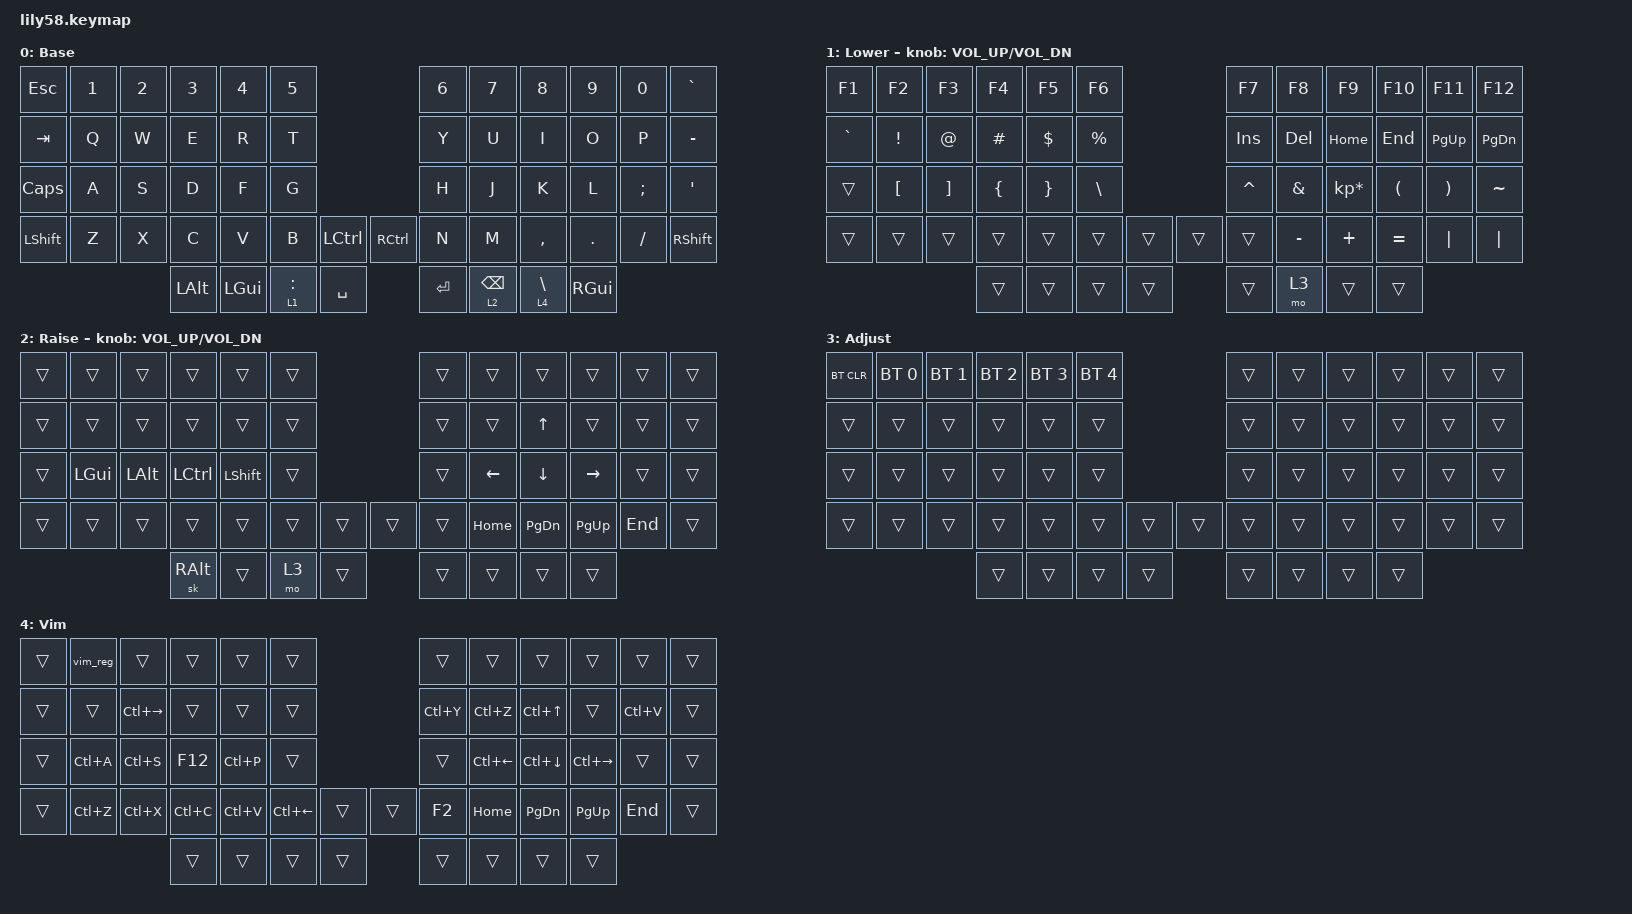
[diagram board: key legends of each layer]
/*
 * Copyright (c) 2020 The ZMK Contributors
 *
 * SPDX-License-Identifier: MIT
 */

#include <behaviors.dtsi>
#include <dt-bindings/zmk/bt.h>
#include <dt-bindings/zmk/keys.h>

/ {
    macros {
        // Macro for vim register access: " followed by +
        vim_reg: vim_reg {
            compatible = "zmk,behavior-macro";
            #binding-cells = <0>;
            bindings = <&kp DQT &kp PLUS>;
        };
    };

    behaviors {
        // Tap for COLON, hold for LOWER layer
        colon_lower: colon_lower {
            compatible = "zmk,behavior-hold-tap";
            #binding-cells = <2>;
            flavor = "balanced";
            tapping-term-ms = <200>;
            quick-tap-ms = <150>;
            bindings = <&mo>, <&kp>;
        };
        
        // Tap for BSPC, hold for RAISE layer
        bspc_raise: bspc_raise {
            compatible = "zmk,behavior-hold-tap";
            #binding-cells = <2>;
            flavor = "balanced";
            tapping-term-ms = <200>;
            quick-tap-ms = <150>;
            bindings = <&mo>, <&kp>;
        };

        // Tap for BSLH, hold for VIM layer
        bslh_vim: bslh_vim {
            compatible = "zmk,behavior-hold-tap";
            #binding-cells = <2>;
            flavor = "balanced";
            tapping-term-ms = <200>;
            quick-tap-ms = <150>;
            bindings = <&mo>, <&kp>;
        };
    };

    keymap {
        compatible = "zmk,keymap";

        default_layer {
            // ------------------------------------------------------------------------------------------------------------
            // |  ESC  |  1  |  2  |  3   |  4   |  5   |                   |  6   |  7    |  8    |  9   |   0   |   `   |
            // |  TAB  |  Q  |  W  |  E   |  R   |  T   |                   |  Y   |  U    |  I    |  O   |   P   |   -   |
            // | CAPS  |  A  |  S  |  D   |  F   |  G   |                   |  H   |  J    |  K    |  L   |   ;   |   '   |
            // | SHIFT |  Z  |  X  |  C   |  V   |  B   |   "["  |  |  "]"  |  N   |  M    |  ,    |  .   |   /   | SHIFT |
            //                     | ALT  | GUI  | :/LWR | SPACE |  | ENTER |BSPC/RSE| CTRL | RGUI  |

            display-name = "Base";
            bindings = <
&kp ESC    &kp N1  &kp N2  &kp N3    &kp N4    &kp N5                                       &kp N6  &kp N7             &kp N8     &kp N9     &kp N0    &kp GRAVE
&kp TAB    &kp Q   &kp W   &kp E     &kp R     &kp T                                        &kp Y   &kp U              &kp I      &kp O      &kp P     &kp MINUS
&kp CLCK   &kp A   &kp S   &kp D     &kp F     &kp G                                        &kp H   &kp J              &kp K      &kp L      &kp SEMI  &kp SQT
&kp LSHFT  &kp Z   &kp X   &kp C     &kp V     &kp B   &kp LCTRL      &kp RCTRL             &kp N   &kp M              &kp COMMA  &kp DOT    &kp FSLH  &kp RSHFT
                           &kp LALT  &kp LGUI  &colon_lower 1 COLON  &kp SPACE    &kp RET  &bspc_raise 2 BSPC  &bslh_vim 4 BSLH  &kp RGUI
            >;
        };

        lower_layer {
            // ------------------------------------------------------------------------------------------------------------
            // |  F1   |  F2 |  F3 |  F4  |  F5  |  F6  |                   |  F7  |  F8   |  F9   | F10  |  F11  |  F12  |
            // |   `   |  !  |  @  |  #   |  $   |  %   |                   | INS  | DEL   | HOME  | END  | PGUP  | PGDN  |
            // |       |  [  |  ]  |  {   |  }   |  \   |                   |  ^   |  &    |  *    |  (   |   )   |   ~   |
            // |       |     |     |      |      |      |        |  |       |      |  _    |  +    |  =   |   |   |  "|"  |
            //                     |      |      | HOLD |        |  |       | ADJ  |       |       |

            display-name = "Lower";
            bindings = <
&kp F1      &kp F2        &kp F3        &kp F4        &kp F5        &kp F6                          &kp F7     &kp F8     &kp F9           &kp F10    &kp F11   &kp F12
&kp GRAVE   &kp EXCL      &kp AT        &kp HASH      &kp DOLLAR    &kp PRCNT                       &kp INS    &kp DEL    &kp HOME         &kp END    &kp PG_UP &kp PG_DN
&trans      &kp LBKT      &kp RBKT      &kp LBRC      &kp RBRC      &kp BSLH                        &kp CARET  &kp AMPS   &kp KP_MULTIPLY  &kp LPAR   &kp RPAR  &kp TILDE
&trans      &trans        &trans        &trans        &trans        &trans        &trans    &trans  &trans     &kp MINUS  &kp PLUS         &kp EQUAL  &kp PIPE  &kp PIPE
                                        &trans        &trans        &trans        &trans    &trans  &mo 3      &trans     &trans
            >;

            sensor-bindings = <&inc_dec_kp C_VOL_UP C_VOL_DN>;
        };

        raise_layer {
            // ------------------------------------------------------------------------------------------------------------
            // |       | "+  |     |      |      |      |                   |      |       |       |      |       |       |
            // |       |     |     |      |      |      |                   |      |       |  UP   |      |       |       |
            // |       | GUI | ALT | CTRL | SHFT |      |                   |      | LEFT  | DOWN  | RIGHT|       |       |
            // |       |     |     |      |      |      |        |  |       |      | HOME  | PGDN  | PGUP | END   |       |
            //                     | RALT |      | ADJ  |        |  |       | HOLD |       |       |

            display-name = "Raise";
            bindings = <
&trans  &trans    &trans    &trans    &trans     &trans                      &trans  &trans    &trans     &trans     &trans   &trans
&trans  &trans    &trans    &trans    &trans     &trans                      &trans  &trans    &kp UP     &trans     &trans   &trans
&trans  &kp LGUI  &kp LALT  &kp LCTRL &kp LSHFT  &trans                      &trans  &kp LEFT  &kp DOWN   &kp RIGHT  &trans   &trans
&trans  &trans    &trans    &trans    &trans     &trans  &trans    &trans    &trans  &kp HOME  &kp PG_DN  &kp PG_UP  &kp END  &trans
                            &sk RALT  &trans     &mo 3   &trans    &trans    &trans  &trans    &trans
            >;

            sensor-bindings = <&inc_dec_kp C_VOL_UP C_VOL_DN>;
        };

        adjust_layer {
            // ------------------------------------------------------------------------------------------------------------
            // | BTCLR | BT1 | BT2 |  BT3 |  BT4 |  BT5 |                   |      |       |       |      |       |       |
            // |       |     |     |      |      |      |                   |      |       |       |      |       |       |
            // |       |     |     |      |      |      |                   |      |       |       |      |       |       |
            // |       |     |     |      |      |      |        |  |       |      |       |       |      |       |       |
            //                     |      |      | HOLD |        |  | HOLD  |      |       |       |

            display-name = "Adjust";
            bindings = <
&bt BT_CLR  &bt BT_SEL 0  &bt BT_SEL 1  &bt BT_SEL 2  &bt BT_SEL 3  &bt BT_SEL 4                    &trans  &trans  &trans  &trans  &trans  &trans
&trans      &trans        &trans        &trans        &trans        &trans                          &trans  &trans  &trans  &trans  &trans  &trans
&trans      &trans        &trans        &trans        &trans        &trans                          &trans  &trans  &trans  &trans  &trans  &trans
&trans      &trans        &trans        &trans        &trans        &trans        &trans    &trans  &trans  &trans  &trans  &trans  &trans  &trans
                                        &trans        &trans        &trans        &trans    &trans  &trans  &trans  &trans
            >;
        };

        vim_layer {
            // ------------------------------------------------------------------------------------------------------------
            // |       |     |     |      |      |      |                   |      |       |       |      |       |       |
            // |       |     |WORD→|      |      |      |                   | REDO | UNDO  | C-UP  |      | PASTE |       |
            // |       | ALL | SAVE| DEFN |FUZZY |      |                   |      |C-LEFT |C-DOWN |C-RGHT|       |       |
            // |       | UNDO| CUT | COPY |PASTE |WORD← |        |  |       |RENAME| HOME  | PGDN  | PGUP | END   |       |
            //                     |      |      |      |        |  |       | HOLD |       |       |

            display-name = "Vim";
            bindings = <
&trans  &vim_reg  &trans        &trans    &trans     &trans                          &trans     &trans        &trans       &trans         &trans   &trans
&trans  &trans    &kp LC(RIGHT) &trans    &trans     &trans                          &kp LC(Y)  &kp LC(Z)     &kp LC(UP)   &trans         &kp LC(V) &trans
&trans  &kp LC(A) &kp LC(S)     &kp F12   &kp LC(P)  &trans                          &trans       &kp LC(LEFT) &kp LC(DOWN) &kp LC(RIGHT)  &trans   &trans
&trans  &kp LC(Z) &kp LC(X)     &kp LC(C) &kp LC(V)  &kp LC(LEFT)  &trans    &trans  &kp F2     &kp HOME      &kp PG_DN    &kp PG_UP      &kp END  &trans
                                &trans    &trans     &trans        &trans    &trans  &trans     &trans        &trans
            >;
        };

        extra_2 { status = "reserved"; };
    };
};
